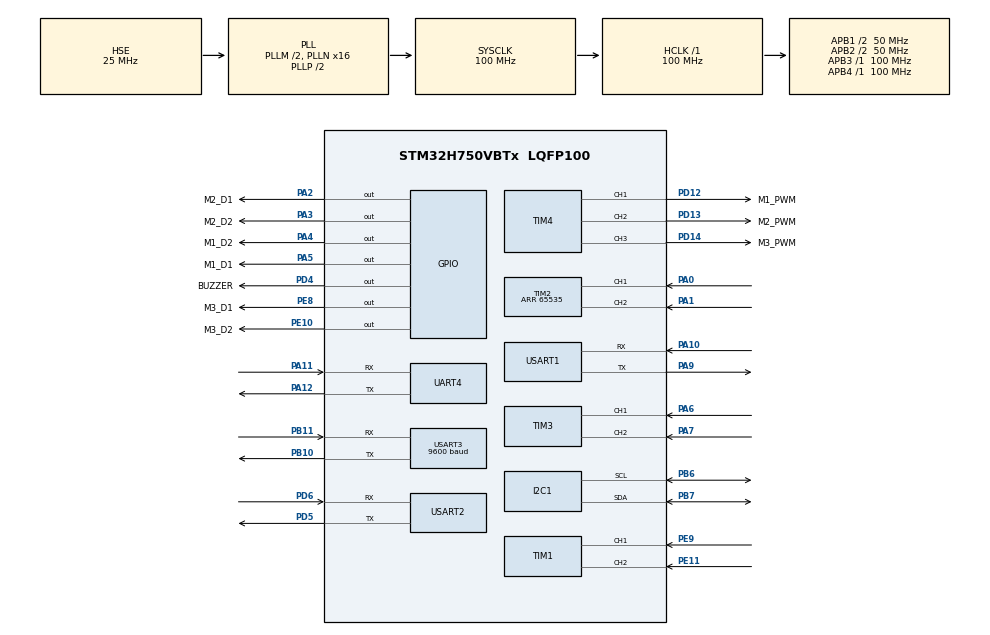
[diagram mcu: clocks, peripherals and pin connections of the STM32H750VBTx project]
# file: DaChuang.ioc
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I2C1.Timing=0x00C0EAFF
Mcu.Family=STM32H7
Mcu.Name=STM32H750VBTx
Mcu.Package=LQFP100
NVIC.PriorityGroup=NVIC_PRIORITYGROUP_4
NVIC.TIM5_IRQn=true\:0\:0\:false\:false\:true\:true\:true\:true
NVIC.USART3_IRQn=true\:0\:0\:false\:false\:true\:true\:true\:true
PA0.Signal=S_TIM2_CH1_ETR
PA1.Signal=S_TIM2_CH2
PA10.Mode=Asynchronous
PA10.Signal=USART1_RX
PA11.Mode=Asynchronous
PA11.Signal=UART4_RX
PA12.Mode=Asynchronous
PA12.Signal=UART4_TX
PA2.GPIO_Label=M2_D1
PA2.Signal=GPIO_Output
PA3.GPIO_Label=M2_D2
PA3.Signal=GPIO_Output
PA4.GPIO_Label=M1_D2
PA4.Signal=GPIO_Output
PA5.GPIO_Label=M1_D1
PA5.Signal=GPIO_Output
PA6.Signal=S_TIM3_CH1
PA7.Signal=S_TIM3_CH2
PA9.Mode=Asynchronous
PA9.Signal=USART1_TX
PB10.Mode=Asynchronous
PB10.Signal=USART3_TX
PB11.Mode=Asynchronous
PB11.Signal=USART3_RX
PB6.Mode=I2C
PB6.Signal=I2C1_SCL
PB7.Mode=I2C
PB7.Signal=I2C1_SDA
PC14-OSC32_IN\ (OSC32_IN).Mode=LSE-External-Oscillator
PC14-OSC32_IN\ (OSC32_IN).Signal=RCC_OSC32_IN
PC15-OSC32_OUT\ (OSC32_OUT).Mode=LSE-External-Oscillator
PC15-OSC32_OUT\ (OSC32_OUT).Signal=RCC_OSC32_OUT
PD12.GPIO_Label=M1_PWM
PD12.Signal=S_TIM4_CH1
PD13.GPIO_Label=M2_PWM
PD13.Signal=S_TIM4_CH2
PD14.GPIO_Label=M3_PWM
PD14.Signal=S_TIM4_CH3
PD4.GPIO_Label=BUZZER
PD4.PinState=GPIO_PIN_SET
PD4.Signal=GPIO_Output
PD5.Mode=Asynchronous
PD5.Signal=USART2_TX
PD6.Mode=Asynchronous
PD6.Signal=USART2_RX
PE10.GPIO_Label=M3_D2
PE10.Signal=GPIO_Output
PE11.Signal=S_TIM1_CH2
PE8.GPIO_Label=M3_D1
PE8.Signal=GPIO_Output
PE9.Signal=S_TIM1_CH1
PH0-OSC_IN\ (PH0).Mode=HSE-External-Oscillator
PH0-OSC_IN\ (PH0).Signal=RCC_OSC_IN
PH1-OSC_OUT\ (PH1).Mode=HSE-External-Oscillator
PH1-OSC_OUT\ (PH1).Signal=RCC_OSC_OUT
ProjectManager.HeapSize=0x200
ProjectManager.StackSize=0x400
ProjectManager.TargetToolchain=MDK-ARM V5.32
RCC.ADCFreq_Value=14648437.5
RCC.APB1Freq_Value=50000000
RCC.APB2Freq_Value=50000000
RCC.APB3Freq_Value=100000000
RCC.APB4Freq_Value=100000000
RCC.CortexFreq_Value=100000000
RCC.D2PPRE1=RCC_APB1_DIV2
RCC.D2PPRE2=RCC_APB2_DIV2
RCC.DIVM1=2
RCC.DIVM2=4
RCC.DIVN1=16
RCC.DIVN2=9
RCC.DIVP2=4
RCC.HCLKFreq_Value=100000000
RCC.PLL2FRACN=3072
RCC.PLL3FRACN=0
RCC.PLLFRACN=0
RCC.PLLSourceVirtual=RCC_PLLSOURCE_HSE
RCC.SYSCLKFreq_VALUE=100000000
RCC.SYSCLKSource=RCC_SYSCLKSOURCE_PLLCLK
RCC.USBFreq_Value=100000000
SH.S_TIM1_CH1.0=TIM1_CH1,Encoder_Interface
SH.S_TIM1_CH2.0=TIM1_CH2,Encoder_Interface
SH.S_TIM2_CH1_ETR.0=TIM2_CH1,Encoder_Interface
SH.S_TIM2_CH2.0=TIM2_CH2,Encoder_Interface
SH.S_TIM3_CH1.0=TIM3_CH1,Encoder_Interface
SH.S_TIM3_CH2.0=TIM3_CH2,Encoder_Interface
SH.S_TIM4_CH1.0=TIM4_CH1,PWM Generation1 CH1
SH.S_TIM4_CH2.0=TIM4_CH2,PWM Generation2 CH2
SH.S_TIM4_CH3.0=TIM4_CH3,PWM Generation3 CH3
TIM2.Period=65535
TIM4.Channel-PWM\ Generation1\ CH1=TIM_CHANNEL_1
TIM4.Channel-PWM\ Generation2\ CH2=TIM_CHANNEL_2
TIM4.Channel-PWM\ Generation3\ CH3=TIM_CHANNEL_3
TIM5.AutoReloadPreload=TIM_AUTORELOAD_PRELOAD_ENABLE
TIM5.Period=5000 - 1
TIM5.Prescaler=750 - 1
USART1.VirtualMode-Asynchronous=VM_ASYNC
USART2.OverSampling=UART_OVERSAMPLING_8
USART2.VirtualMode-Asynchronous=VM_ASYNC
USART3.BaudRate=9600
USART3.VirtualMode-Asynchronous=VM_ASYNC
VP_TIM4_VS_ClockSourceINT.Mode=Internal
VP_TIM5_VS_ClockSourceINT.Mode=Internal
board=custom

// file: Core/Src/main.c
/* USER CODE BEGIN Header */
/**
 ******************************************************************************
 * @file           : main.c
 * @brief          : Main program body
 ******************************************************************************
 * @attention
 *
 * Copyright (c) 2024 STMicroelectronics.
 * All rights reserved.
 *
 * This software is licensed under terms that can be found in the LICENSE file
 * in the root directory of this software component.
 * If no LICENSE file comes with this software, it is provided AS-IS.
 *
 ******************************************************************************
 */
/* USER CODE END Header */
#include "main.h"
#include "i2c.h"
#include "tim.h"
#include "usart.h"
#include "gpio.h"

/* USER CODE BEGIN Includes */
#include "motor.h"
#include "motor_control.h"
#include "include_user_all.h"
#include "turn_abs.h"
#include "findline.h"
#include "straight.h"
#include "keep.h"
#include "car_init.h"
#include "car_run.h"
#include "car_timer.h"
/* USER CODE END Includes */

/* USER CODE BEGIN PV */
extern uint8_t sta;
/* USER CODE END PV */

void SystemClock_Config(void);
/* USER CODE BEGIN PFP */
void I2C_scan()
{
    printTo(uart3, "\n\n");
    uint8_t data[10];
    for (uint8_t i = 0; i < 255; i++)
    {
        uint8_t re = HAL_I2C_Mem_Read(&hi2c1, i, 0, I2C_MEMADD_SIZE_8BIT, data, 1, 0xff);
        if (re == HAL_OK)
            printTo(uart3, "0x%02x ", i);
        else
            printTo(uart3, ".");
    }
}
/* USER CODE END PFP */

/* USER CODE BEGIN 0 */

void HAL_TIM_PeriodElapsedCallback(TIM_HandleTypeDef *htim)
{
    car_timer();
}
/* USER CODE END 0 */

int main(void)
{

  /* MCU Configuration--------------------------------------------------------*/

  /* Reset of all peripherals, Initializes the Flash interface and the Systick. */
  HAL_Init();

  /* Configure the system clock */
  SystemClock_Config();

  /* Initialize all configured peripherals */
  MX_GPIO_Init();
  MX_TIM1_Init();
  MX_TIM2_Init();
  MX_TIM3_Init();
  MX_TIM4_Init();
  MX_USART1_UART_Init();
  MX_USART2_UART_Init();
  MX_I2C1_Init();
  MX_UART4_Init();
  MX_USART3_UART_Init();
  MX_TIM5_Init();
  /* USER CODE BEGIN 2 */
		HAL_UART_Receive_IT(&huart3, &sta, 1);
    car_init();
  /* USER CODE END 2 */

  /* Infinite loop */
  /* USER CODE BEGIN WHILE */
    car_run();

    while (1)
    {
    /* USER CODE END WHILE */

    }
}

void SystemClock_Config(void)
{
  RCC_OscInitTypeDef RCC_OscInitStruct = {0};
  RCC_ClkInitTypeDef RCC_ClkInitStruct = {0};

  /** Supply configuration update enable
  */
  HAL_PWREx_ConfigSupply(PWR_LDO_SUPPLY);

  /** Configure the main internal regulator output voltage
  */
  __HAL_PWR_VOLTAGESCALING_CONFIG(PWR_REGULATOR_VOLTAGE_SCALE3);

  while(!__HAL_PWR_GET_FLAG(PWR_FLAG_VOSRDY)) {}

  /** Initializes the RCC Oscillators according to the specified parameters
  * in the RCC_OscInitTypeDef structure.
  */
  RCC_OscInitStruct.OscillatorType = RCC_OSCILLATORTYPE_HSE;
  RCC_OscInitStruct.HSEState = RCC_HSE_ON;
  RCC_OscInitStruct.PLL.PLLState = RCC_PLL_ON;
  RCC_OscInitStruct.PLL.PLLSource = RCC_PLLSOURCE_HSE;
  RCC_OscInitStruct.PLL.PLLM = 2;
  RCC_OscInitStruct.PLL.PLLN = 16;
  RCC_OscInitStruct.PLL.PLLP = 2;
  RCC_OscInitStruct.PLL.PLLQ = 2;
  RCC_OscInitStruct.PLL.PLLR = 2;
  RCC_OscInitStruct.PLL.PLLRGE = RCC_PLL1VCIRANGE_3;
  RCC_OscInitStruct.PLL.PLLVCOSEL = RCC_PLL1VCOWIDE;
  RCC_OscInitStruct.PLL.PLLFRACN = 0;
  if (HAL_RCC_OscConfig(&RCC_OscInitStruct) != HAL_OK)
  {
    Error_Handler();
  }

  /** Initializes the CPU, AHB and APB buses clocks
  */
  RCC_ClkInitStruct.ClockType = RCC_CLOCKTYPE_HCLK|RCC_CLOCKTYPE_SYSCLK
                              |RCC_CLOCKTYPE_PCLK1|RCC_CLOCKTYPE_PCLK2
                              |RCC_CLOCKTYPE_D3PCLK1|RCC_CLOCKTYPE_D1PCLK1;
  RCC_ClkInitStruct.SYSCLKSource = RCC_SYSCLKSOURCE_PLLCLK;
  RCC_ClkInitStruct.SYSCLKDivider = RCC_SYSCLK_DIV1;
  RCC_ClkInitStruct.AHBCLKDivider = RCC_HCLK_DIV1;
  RCC_ClkInitStruct.APB3CLKDivider = RCC_APB3_DIV1;
  RCC_ClkInitStruct.APB1CLKDivider = RCC_APB1_DIV2;
  RCC_ClkInitStruct.APB2CLKDivider = RCC_APB2_DIV2;
  RCC_ClkInitStruct.APB4CLKDivider = RCC_APB4_DIV1;

  if (HAL_RCC_ClockConfig(&RCC_ClkInitStruct, FLASH_LATENCY_2) != HAL_OK)
  {
    Error_Handler();
  }
}

void Error_Handler(void)
{
    __disable_irq();
    while (1)
    {
    }
}
